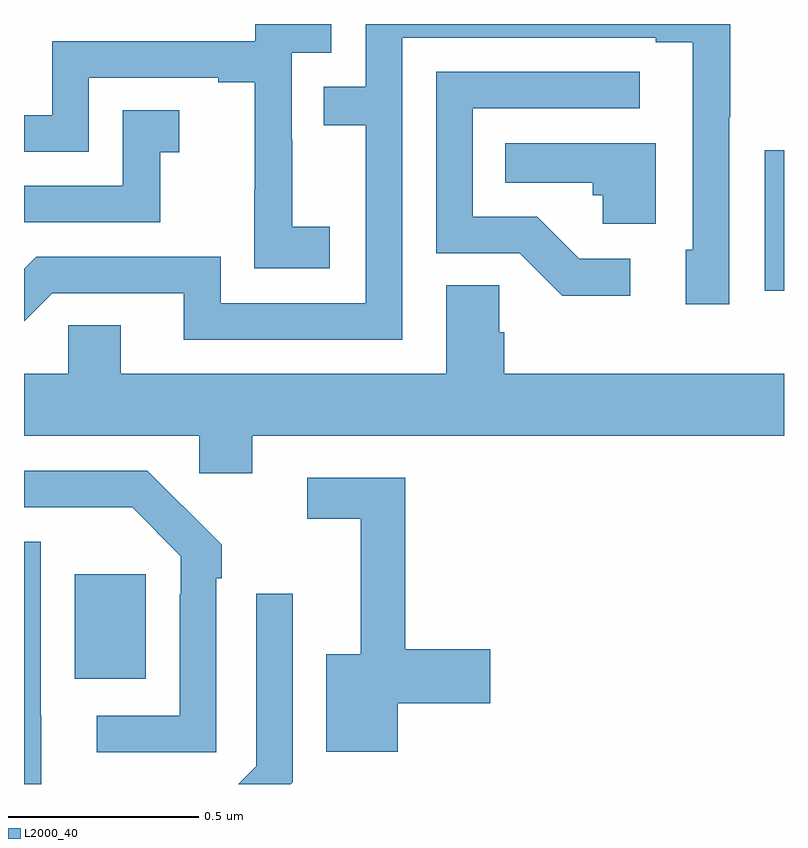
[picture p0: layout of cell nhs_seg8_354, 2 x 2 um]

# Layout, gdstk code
import gdstk
lib = gdstk.Library(unit=1e-6, precision=1e-09)
def R(c, l, rs):  # rectangles x0, y0, x1, y1
    for r in rs: c.add(gdstk.rectangle(r[:2], r[2:], *l))
def P(c, l, *ps):  # polygons
    for p in ps: c.add(gdstk.Polygon(p, *l))
L2000_40 = (2000, 40)

nhs_seg8_354 = lib.new_cell('nhs_seg8_354')
R(nhs_seg8_354, L2000_40, [(115.133,1133.177,115.321,1133.452), (116.949,1134.198,117,1134.568)])
P(nhs_seg8_354, L2000_40, [(115.804,1134.367),(115.706,1134.367),(115.706,1134.596),(115.704,1134.596),(115.704,1134.825),(115.809,1134.825),(115.809,1134.9),(115.608,1134.9),(115.608,1134.855),(115.074,1134.855),(115.074,1134.66),(115,1134.66),(115,1134.564),(115.17,1134.564),(115.17,1134.759),(115.511,1134.759),(115.511,1134.747),(115.607,1134.747),(115.607,1134.463),(115.606,1134.463),(115.606,1134.257),(115.804,1134.257)],
  [(115.995,1134.864),(116.663,1134.864),(116.663,1134.852),(116.76,1134.852),(116.76,1134.306),(116.741,1134.306),(116.741,1134.162),(116.856,1134.162),(116.856,1134.655),(116.859,1134.655),(116.859,1134.9),(115.899,1134.9),(115.899,1134.735),(115.789,1134.735),(115.789,1134.634),(115.899,1134.634),(115.899,1134.165),(115.518,1134.165),(115.518,1134.288),(115.032,1134.288),(115,1134.256),(115,1134.118),(115.074,1134.192),(115.421,1134.192),(115.421,1134.069),(115.995,1134.069)],
  [(116.596,1134.282),(116.461,1134.282),(116.35,1134.393),(116.181,1134.393),(116.181,1134.678),(116.62,1134.678),(116.62,1134.774),(116.085,1134.774),(116.085,1134.297),(116.304,1134.297),(116.417,1134.185),(116.596,1134.185)],
  [(115.359,1134.563),(115.408,1134.563),(115.408,1134.673),(115.26,1134.673),(115.26,1134.474),(115,1134.474),(115,1134.378),(115.359,1134.378)],
  [(116.662,1134.586),(116.266,1134.586),(116.266,1134.482),(116.497,1134.482),(116.497,1134.45),(116.523,1134.45),(116.523,1134.374),(116.662,1134.374)],
  [(115.6,1133.816),(117,1133.816),(117,1133.98),(116.264,1133.98),(116.264,1134.089),(116.25,1134.089),(116.25,1134.212),(116.111,1134.212),(116.111,1133.98),(115.255,1133.98),(115.255,1134.107),(115.116,1134.107),(115.116,1133.98),(115,1133.98),(115,1133.816),(115.461,1133.816),(115.461,1133.718),(115.6,1133.718)],
  [(115.506,1133.441),(115.521,1133.441),(115.521,1133.529),(115.416,1133.634),(115.415,1133.633),(115.324,1133.724),(115,1133.724),(115,1133.628),(115.285,1133.628),(115.413,1133.499),(115.413,1133.399),(115.41,1133.399),(115.41,1133.079),(115.191,1133.079),(115.191,1132.983),(115.506,1132.983)],
  [(115.984,1133.113),(116.227,1133.113),(116.227,1133.255),(116.003,1133.255),(116.003,1133.706),(115.746,1133.706),(115.746,1133.598),(115.886,1133.598),(115.886,1133.242),(115.796,1133.242),(115.796,1132.985),(115.984,1132.985)],
  [(115.045,1133.081),(115.044,1133.081),(115.044,1133.538),(115,1133.538),(115,1132.9),(115.045,1132.9)],
  [(115.707,1132.905),(115.707,1133.401),(115.611,1133.401),(115.611,1132.947),(115.564,1132.9),(115.702,1132.9)])

lib.write_gds('nhs_seg8_354.gds')
